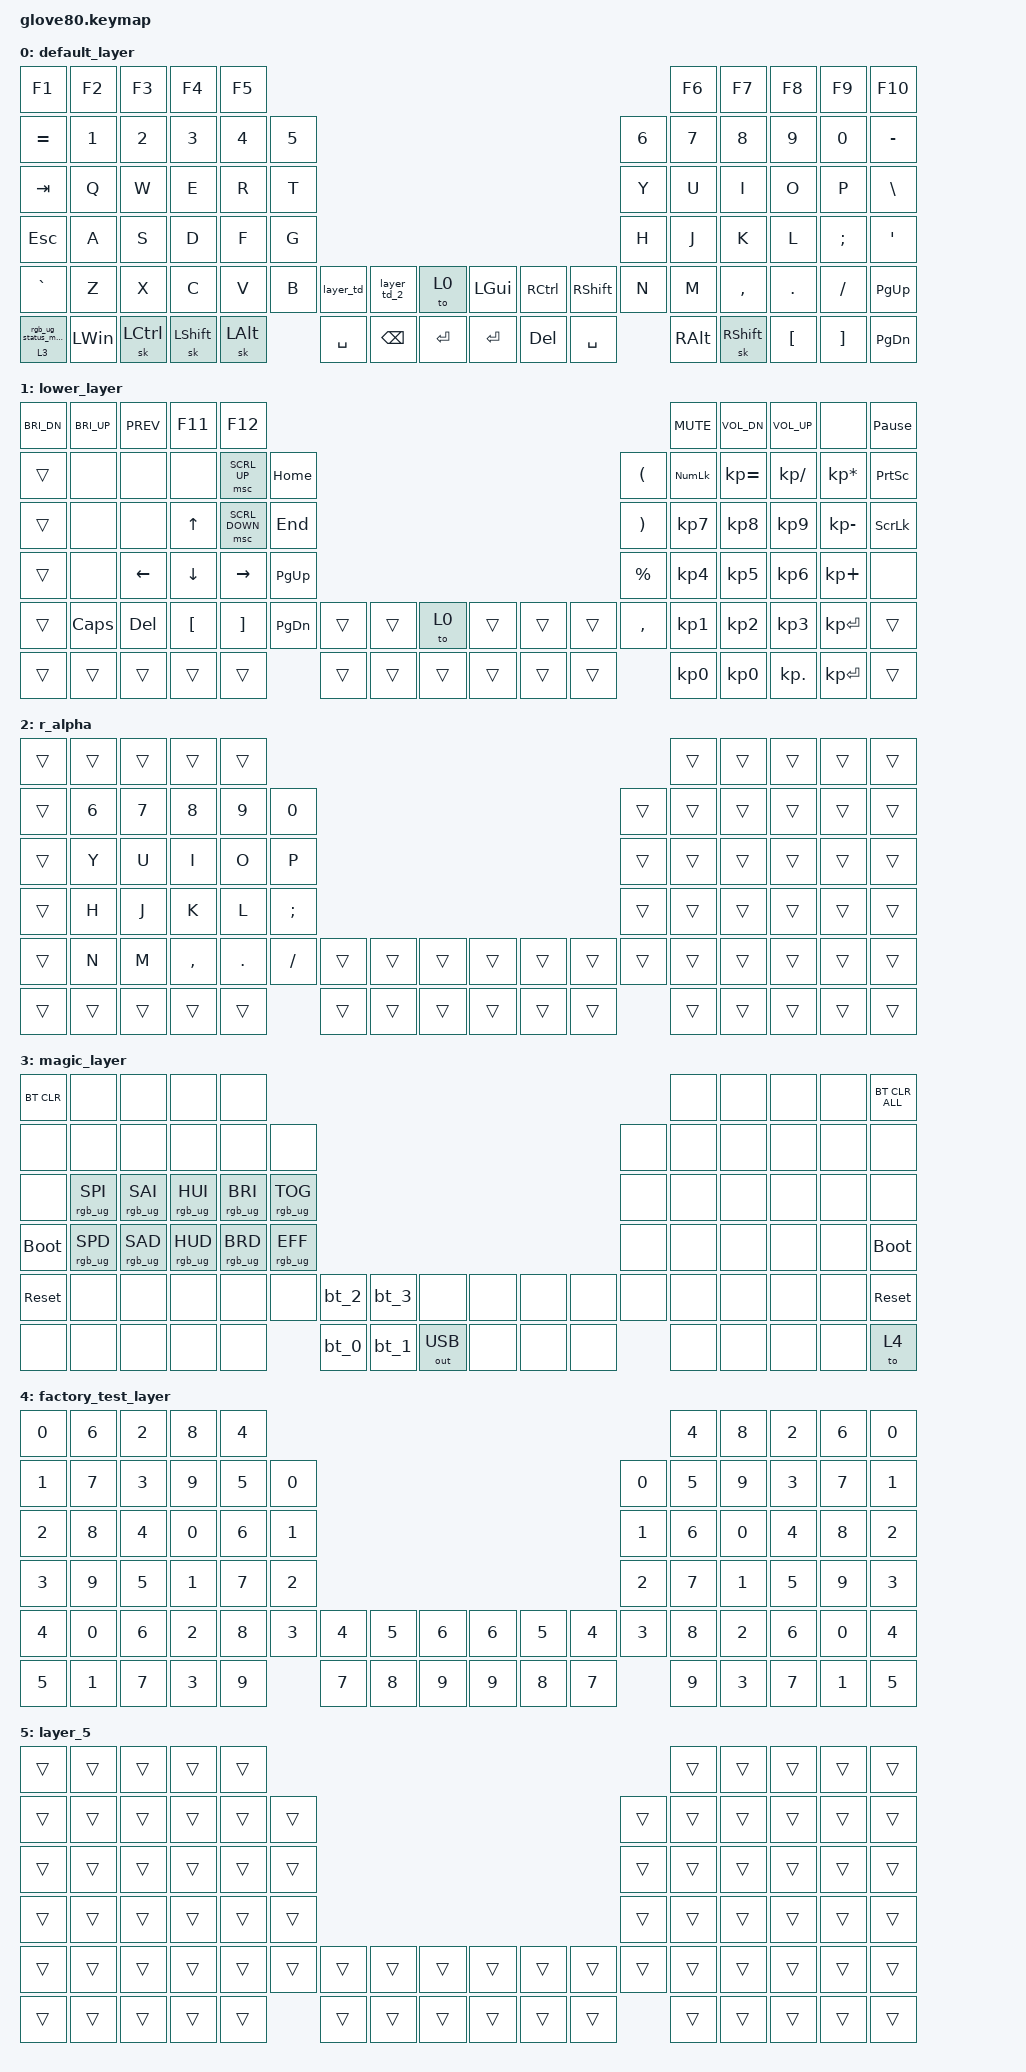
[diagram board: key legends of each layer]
/*
 * Copyright (c) 2020 The ZMK Contributors
 *
 * SPDX-License-Identifier: MIT
 */

#include <behaviors.dtsi>
#include <dt-bindings/zmk/bt.h>
#include <dt-bindings/zmk/keys.h>
#include <dt-bindings/zmk/outputs.h>
#include <dt-bindings/zmk/pointing.h>
#include <dt-bindings/zmk/rgb.h>

#define HYPER LC(LS(LG(LALT)))

// layers

#define DEFAULT 0
#define LOWER 1
#define MAGIC 2
#define FACTORY_TEST 3

&sk { release-after-ms = <300>; };

&msc {
    acceleration-exponent = <0>;      /* Enables progressive acceleration (0 = constant speed, 1 = linear curve, 2 = aggressive) */
    time-to-max-speed-ms = <1>;     /* Milliseconds of holding the key before reaching peak speed */
    delay-ms = <0>;                   /* Milliseconds before scrolling begins */
};

/ {
    behaviors {
        // For the "layer" key, it'd nice to be able to use it as either a shift or a toggle.
        // Configure it as a tap dance, so the first tap (or hold) is a &mo and the second tap is a &to

       

        layer_td: tap_dance_0 {
            compatible = "zmk,behavior-tap-dance";
            label = "LAYER_TAP_DANCE";
            #binding-cells = <0>;
            tapping-term-ms = <200>;
            bindings = <&mo 1>, <&to 1>;
        };

        magic: magic_hold_tap {
            compatible = "zmk,behavior-hold-tap";
            label = "MAGIC_HOLD_TAP";
            #binding-cells = <2>;
            flavor = "tap-preferred";
            tapping-term-ms = <200>;
            bindings = <&mo>, <&rgb_ug_status_macro>;
        };

        layer_td_2: layer_td_2 {
            compatible = "zmk,behavior-tap-dance";
            label = "LAYER_TD_2";
            #binding-cells = <0>;
            tapping-term-ms = <200>;
            bindings = <&mo 2>, <&to 2>;
        };
    };

    macros {
        rgb_ug_status_macro: rgb_ug_status_macro_0 {
            label = "RGB_UG_STATUS";
            compatible = "zmk,behavior-macro";
            #binding-cells = <0>;
            bindings = <&rgb_ug RGB_STATUS>;
        };

        bt_0: bt_profile_macro_0 {
            label = "BT_0";
            compatible = "zmk,behavior-macro";
            #binding-cells = <0>;
            bindings = <&out OUT_BLE &bt BT_SEL 0>;
        };

        bt_1: bt_profile_macro_1 {
            label = "BT_1";
            compatible = "zmk,behavior-macro";
            #binding-cells = <0>;
            bindings = <&out OUT_BLE &bt BT_SEL 1>;
        };

        bt_2: bt_profile_macro_2 {
            label = "BT_2";
            compatible = "zmk,behavior-macro";
            #binding-cells = <0>;
            bindings = <&out OUT_BLE &bt BT_SEL 2>;
        };

        bt_3: bt_profile_macro_3 {
            label = "BT_3";
            compatible = "zmk,behavior-macro";
            #binding-cells = <0>;
            bindings = <&out OUT_BLE &bt BT_SEL 3>;
        };
    };

    keymap {
        compatible = "zmk,keymap";

        default_layer {
            // ---------------------------------------------------------------------------------------------------------------------------------
            // |  F1   |  F2 |  F3 |  F4  |  F5  |                                                               |  F6   |  F7   |  F8  |   F9  |  F10 |
            // |  =    |  1  |  2  |  3   |  4   |  5   |                                                 |  6   |   7   |   8   |  9   |   0   |   -  |
            // |  TAB  |  Q  |  W  |  E   |  R   |  T   |                                                 |  Y   |   U   |   I   |  O   |   P   |   \  |
            // |  ESC  |  A  |  S  |  D   |  F   |  G   |                                                 |  H   |   J   |   K   |  L   |   ;   |   '  |
            // |   `   |  Z  |  X  |  C   |  V   |  B   | LSHFT | LCTRL | LOWER | | LGUI  | RCTRL | RSHFT |  N   |   M   |   ,   |  .   |   /   | PGUP |
            // | MAGIC | HOME| END | LEFT | RIGHT|      | BSPC  | DEL   | LALT  | | RALT  | RET   | SPACE |      |  UP   | DOWN  |  [   |   ]   | PGDN |

            bindings = <
&kp F1      &kp F2        &kp F3     &kp F4          &kp F5                                                                                              &kp F6         &kp F7           &kp F8    &kp F9    &kp F10
&kp EQUAL   &kp N1        &kp N2     &kp N3          &kp N4        &kp N5                                                                        &kp N6  &kp N7         &kp N8           &kp N9    &kp N0    &kp MINUS
&kp TAB     &kp Q         &kp W      &kp E           &kp R         &kp T                                                                         &kp Y   &kp U          &kp I            &kp O     &kp P     &kp BSLH
&kp ESC     &kp A         &kp S      &kp D           &kp F         &kp G                                                                         &kp H   &kp J          &kp K            &kp L     &kp SEMI  &kp SQT
&kp GRAVE   &kp Z         &kp X      &kp C           &kp V         &kp B   &layer_td  &layer_td_2    &to 0      &kp LGUI   &kp RCTRL  &kp RSHFT  &kp N   &kp M          &kp COMMA        &kp DOT   &kp FSLH  &kp PG_UP
&magic 3 0  &kp LEFT_WIN  &sk LCTRL  &sk LEFT_SHIFT  &sk LEFT_ALT          &kp SPACE  &kp BACKSPACE  &kp ENTER  &kp ENTER  &kp DEL    &kp SPACE          &kp RIGHT_ALT  &sk RIGHT_SHIFT  &kp LBKT  &kp RBKT  &kp PG_DN
            >;
        };

        lower_layer {
            bindings = <
&kp C_BRI_DN  &kp C_BRI_UP  &kp C_PREV  &kp F11           &kp F12                                                                                  &kp C_MUTE  &kp C_VOL_DN  &kp C_VOL_UP   &none            &kp PAUSE_BREAK
&trans        &none         &none       &none             &msc SCRL_UP      &kp HOME                                                   &kp LPAR   &kp KP_NUM  &kp KP_EQUAL  &kp KP_DIVIDE  &kp KP_MULTIPLY  &kp PSCRN
&trans        &none         &none       &kp UP            &msc SCRL_DOWN     &kp END                                                    &kp RPAR   &kp KP_N7   &kp KP_N8     &kp KP_N9      &kp KP_MINUS     &kp SLCK
&trans        &none         &kp LEFT    &kp DOWN          &kp RIGHT          &kp PG_UP                                                  &kp PRCNT  &kp KP_N4   &kp KP_N5     &kp KP_N6      &kp KP_PLUS      &none
&trans        &kp CAPS      &kp DEL     &kp LEFT_BRACKET  &kp RIGHT_BRACKET  &kp PG_DN  &trans  &trans  &to 0   &trans  &trans  &trans  &kp COMMA  &kp KP_N1   &kp KP_N2     &kp KP_N3      &kp KP_ENTER     &trans
&trans        &trans        &trans      &trans            &trans                        &trans  &trans  &trans  &trans  &trans  &trans             &kp KP_N0   &kp KP_N0     &kp KP_DOT     &kp KP_ENTER     &trans
            >;
        };

        r_alpha {
            bindings = <
&trans  &trans        &trans  &trans     &trans                                                                             &trans  &trans  &trans  &trans  &trans
&trans  &kp NUMBER_6  &kp N7  &kp N8     &kp N9      &kp N0                                                         &trans  &trans  &trans  &trans  &trans  &trans
&trans  &kp Y         &kp U   &kp I      &kp O       &kp P                                                          &trans  &trans  &trans  &trans  &trans  &trans
&trans  &kp H         &kp J   &kp K      &kp L       &kp SEMICOLON                                                  &trans  &trans  &trans  &trans  &trans  &trans
&trans  &kp N         &kp M   &kp COMMA  &kp PERIOD  &kp SLASH      &trans  &trans  &trans  &trans  &trans  &trans  &trans  &trans  &trans  &trans  &trans  &trans
&trans  &trans        &trans  &trans     &trans                     &trans  &trans  &trans  &trans  &trans  &trans          &trans  &trans  &trans  &trans  &trans
            >;
        };

        magic_layer {
            bindings = <
&bt BT_CLR   &none            &none            &none            &none                                                                                     &none  &none  &none  &none  &bt BT_CLR_ALL
&none        &none            &none            &none            &none            &none                                                             &none  &none  &none  &none  &none  &none
&none        &rgb_ug RGB_SPI  &rgb_ug RGB_SAI  &rgb_ug RGB_HUI  &rgb_ug RGB_BRI  &rgb_ug RGB_TOG                                                   &none  &none  &none  &none  &none  &none
&bootloader  &rgb_ug RGB_SPD  &rgb_ug RGB_SAD  &rgb_ug RGB_HUD  &rgb_ug RGB_BRD  &rgb_ug RGB_EFF                                                   &none  &none  &none  &none  &none  &bootloader
&sys_reset   &none            &none            &none            &none            &none            &bt_2  &bt_3  &none         &none  &none  &none  &none  &none  &none  &none  &none  &sys_reset
&none        &none            &none            &none            &none                             &bt_0  &bt_1  &out OUT_USB  &none  &none  &none         &none  &none  &none  &none  &to 4
            >;
        };

        factory_test_layer {
            bindings = <
&kp N0  &kp N6  &kp N2  &kp N8  &kp N4                                                                  &kp N4  &kp N8  &kp N2  &kp N6  &kp N0
&kp N1  &kp N7  &kp N3  &kp N9  &kp N5  &kp N0                                                  &kp N0  &kp N5  &kp N9  &kp N3  &kp N7  &kp N1
&kp N2  &kp N8  &kp N4  &kp N0  &kp N6  &kp N1                                                  &kp N1  &kp N6  &kp N0  &kp N4  &kp N8  &kp N2
&kp N3  &kp N9  &kp N5  &kp N1  &kp N7  &kp N2                                                  &kp N2  &kp N7  &kp N1  &kp N5  &kp N9  &kp N3
&kp N4  &kp N0  &kp N6  &kp N2  &kp N8  &kp N3  &kp N4  &kp N5  &kp N6  &kp N6  &kp N5  &kp N4  &kp N3  &kp N8  &kp N2  &kp N6  &kp N0  &kp N4
&kp N5  &kp N1  &kp N7  &kp N3  &kp N9          &kp N7  &kp N8  &kp N9  &kp N9  &kp N8  &kp N7          &kp N9  &kp N3  &kp N7  &kp N1  &kp N5
            >;
        };

        layer_5 {
            bindings = <
&trans  &trans  &trans  &trans  &trans                                                                  &trans  &trans  &trans  &trans  &trans
&trans  &trans  &trans  &trans  &trans  &trans                                                  &trans  &trans  &trans  &trans  &trans  &trans
&trans  &trans  &trans  &trans  &trans  &trans                                                  &trans  &trans  &trans  &trans  &trans  &trans
&trans  &trans  &trans  &trans  &trans  &trans                                                  &trans  &trans  &trans  &trans  &trans  &trans
&trans  &trans  &trans  &trans  &trans  &trans  &trans  &trans  &trans  &trans  &trans  &trans  &trans  &trans  &trans  &trans  &trans  &trans
&trans  &trans  &trans  &trans  &trans          &trans  &trans  &trans  &trans  &trans  &trans          &trans  &trans  &trans  &trans  &trans
            >;
        };
    };
};
